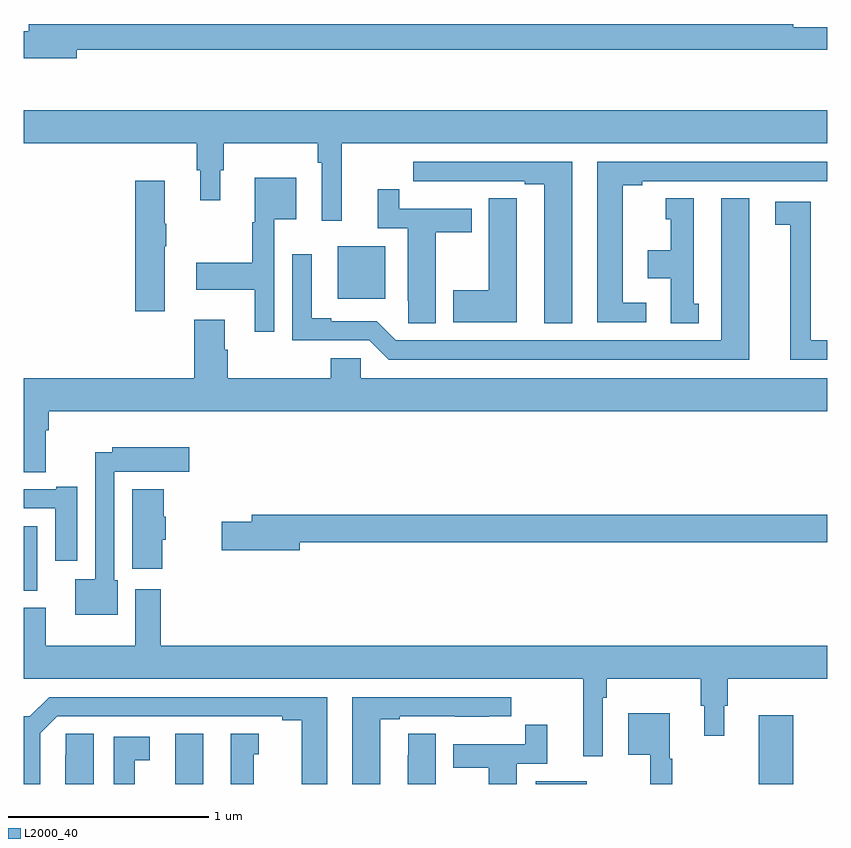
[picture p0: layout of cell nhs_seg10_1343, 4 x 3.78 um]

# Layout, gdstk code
import gdstk
lib = gdstk.Library(unit=1e-6, precision=1e-09)
def R(c, l, rs):  # rectangles x0, y0, x1, y1
    for r in rs: c.add(gdstk.rectangle(r[:2], r[2:], *l))
def P(c, l, *ps):  # polygons
    for p in ps: c.add(gdstk.Polygon(p, *l))
L2000_40 = (2000, 40)

nhs_seg10_1343 = lib.new_cell('nhs_seg10_1343')
R(nhs_seg10_1343, L2000_40, [(181.754,1258.5,181.894,1258.75), (183.548,1258.5,183.802,1258.513), (184.658,1258.5,184.829,1258.843), (181,1259.462,181.069,1259.782), (182.564,1260.914,182.8,1261.177)])
P(nhs_seg10_1343, L2000_40, [(181.264,1262.154),(185,1262.154),(185,1262.267),(184.829,1262.267),(184.829,1262.282),(181.025,1262.282),(181.025,1262.246),(181,1262.246),(181,1262.111),(181.264,1262.111)],
  [(182.582,1261.688),(185,1261.688),(185,1261.852),(181,1261.852),(181,1261.688),(181.861,1261.688),(181.861,1261.554),(181.88,1261.554),(181.88,1261.404),(181.978,1261.404),(181.978,1261.554),(181.997,1261.554),(181.997,1261.688),(182.464,1261.688),(182.464,1261.592),(182.484,1261.592),(182.484,1261.302),(182.582,1261.302)],
  [(183.73,1261.596),(182.94,1261.596),(182.94,1261.5),(183.052,1261.5),(183.052,1261.499),(183.218,1261.499),(183.218,1261.5),(183.494,1261.5),(183.494,1261.485),(183.59,1261.485),(183.59,1260.793),(183.73,1260.793)],
  [(184.099,1260.894),(183.982,1260.894),(183.982,1261.48),(184.078,1261.48),(184.078,1261.5),(185,1261.5),(185,1261.596),(183.854,1261.596),(183.854,1260.798),(184.099,1260.798)],
  [(182.247,1261.31),(182.356,1261.31),(182.356,1261.516),(182.15,1261.516),(182.15,1261.295),(182.139,1261.295),(182.139,1261.094),(181.86,1261.094),(181.86,1260.959),(182.15,1260.959),(182.15,1260.75),(182.247,1260.75)],
  [(181.702,1261.177),(181.71,1261.177),(181.71,1261.288),(181.702,1261.288),(181.702,1261.501),(181.556,1261.501),(181.556,1260.852),(181.702,1260.852)],
  [(183.052,1261.246),(183.229,1261.246),(183.229,1261.362),(182.87,1261.362),(182.87,1261.459),(182.762,1261.459),(182.762,1261.266),(182.912,1261.266),(182.912,1260.904),(182.913,1260.904),(182.913,1260.793),(183.052,1260.793)],
  [(183.454,1261.307),(183.453,1261.307),(183.453,1261.415),(183.314,1261.415),(183.314,1260.957),(183.137,1260.957),(183.137,1260.797),(183.454,1260.797)],
  [(184.36,1260.891),(184.336,1260.891),(184.336,1261.414),(184.196,1261.414),(184.196,1261.311),(184.22,1261.311),(184.22,1261.156),(184.106,1261.156),(184.106,1261.016),(184.22,1261.016),(184.22,1260.793),(184.36,1260.793)],
  [(184.612,1261.414),(184.472,1261.414),(184.472,1260.708),(182.853,1260.708),(182.757,1260.804),(182.53,1260.804),(182.53,1260.817),(182.434,1260.817),(182.434,1261.135),(182.337,1261.135),(182.337,1260.708),(182.721,1260.708),(182.817,1260.612),(184.612,1260.612)],
  [(185,1260.708),(184.918,1260.708),(184.918,1261.398),(184.74,1261.398),(184.74,1261.282),(184.814,1261.282),(184.814,1260.612),(185,1260.612)],
  [(181.111,1260.26),(181.124,1260.26),(181.124,1260.356),(185,1260.356),(185,1260.52),(182.679,1260.52),(182.679,1260.618),(182.528,1260.618),(182.528,1260.52),(182.015,1260.52),(182.015,1260.662),(182.002,1260.662),(182.002,1260.811),(181.85,1260.811),(181.85,1260.52),(181,1260.52),(181,1260.052),(181.111,1260.052)],
  [(181.468,1259.514),(181.452,1259.514),(181.452,1260.054),(181.549,1260.054),(181.549,1260.053),(181.825,1260.053),(181.825,1260.175),(181.44,1260.175),(181.44,1260.152),(181.356,1260.152),(181.356,1259.518),(181.256,1259.518),(181.256,1259.342),(181.468,1259.342)],
  [(181.267,1259.98),(181.163,1259.98),(181.163,1259.967),(181,1259.967),(181,1259.871),(181.157,1259.871),(181.157,1259.61),(181.267,1259.61)],
  [(181.69,1259.715),(181.708,1259.715),(181.708,1259.829),(181.698,1259.829),(181.698,1259.968),(181.541,1259.968),(181.541,1259.571),(181.69,1259.571)],
  [(182.374,1259.704),(185,1259.704),(185,1259.84),(182.135,1259.84),(182.135,1259.804),(181.986,1259.804),(181.986,1259.662),(182.374,1259.662)],
  [(181.682,1259.47),(181.556,1259.47),(181.556,1259.188),(181.111,1259.188),(181.111,1259.377),(181,1259.377),(181,1259.024),(183.785,1259.024),(183.785,1258.638),(183.882,1258.638),(183.882,1258.928),(183.902,1258.928),(183.902,1259.024),(184.369,1259.024),(184.369,1258.89),(184.388,1258.89),(184.388,1258.74),(184.486,1258.74),(184.486,1258.89),(184.505,1258.89),(184.505,1259.024),(185,1259.024),(185,1259.188),(181.682,1259.188)],
  [(182.776,1258.821),(182.872,1258.821),(182.872,1258.836),(183.148,1258.836),(183.148,1258.835),(183.314,1258.835),(183.314,1258.836),(183.427,1258.836),(183.427,1258.932),(182.636,1258.932),(182.636,1258.5),(182.776,1258.5)],
  [(181.083,1258.752),(181.167,1258.836),(182.288,1258.836),(182.288,1258.816),(182.384,1258.816),(182.384,1258.5),(182.512,1258.5),(182.512,1258.932),(181.127,1258.932),(181.031,1258.836),(181,1258.836),(181,1258.5),(181.083,1258.5)],
  [(184.228,1258.626),(184.216,1258.626),(184.216,1258.852),(184.01,1258.852),(184.01,1258.646),(184.119,1258.646),(184.119,1258.5),(184.228,1258.5)],
  [(183.454,1258.602),(183.605,1258.602),(183.605,1258.795),(183.496,1258.795),(183.496,1258.698),(183.137,1258.698),(183.137,1258.582),(183.314,1258.582),(183.314,1258.5),(183.454,1258.5)],
  [(183.052,1258.751),(182.913,1258.751),(182.913,1258.643),(182.912,1258.643),(182.912,1258.5),(183.052,1258.5)],
  [(181.348,1258.751),(181.209,1258.751),(181.209,1258.643),(181.208,1258.643),(181.208,1258.5),(181.348,1258.5)],
  [(182.146,1258.647),(182.17,1258.647),(182.17,1258.75),(182.03,1258.75),(182.03,1258.5),(182.146,1258.5)],
  [(181.552,1258.618),(181.627,1258.618),(181.627,1258.734),(181.448,1258.734),(181.448,1258.5),(181.552,1258.5)])

lib.write_gds('nhs_seg10_1343.gds')
